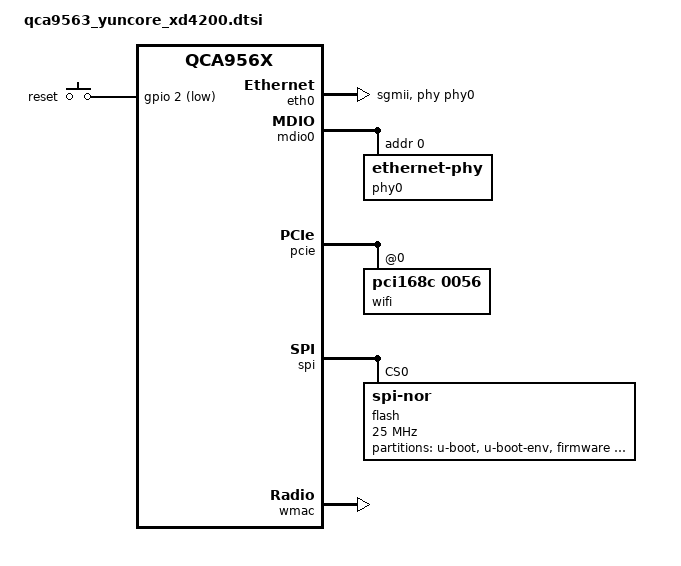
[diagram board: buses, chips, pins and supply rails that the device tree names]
// SPDX-License-Identifier: GPL-2.0-or-later OR MIT

#include "qca956x.dtsi"

#include <dt-bindings/gpio/gpio.h>
#include <dt-bindings/input/input.h>

/ {
	aliases {
		label-mac-device = &eth0;
	};

	keys {
		compatible = "gpio-keys";

		reset {
			linux,code = <KEY_RESTART>;
			gpios = <&gpio 2 GPIO_ACTIVE_LOW>;
			debounce-interval = <60>;
		};
	};
};

&eth0 {
	status = "okay";

	pll-data = <0x03000101 0x00000101 0x00001919>;

	nvmem-cells = <&macaddr_art_0>;
	nvmem-cell-names = "mac-address";
	phy-mode = "sgmii";
	phy-handle = <&phy0>;
};

&mdio0 {
	status = "okay";

	phy-mask = <0>;

	phy0: ethernet-phy@0 {
		reg = <0>;
		phy-mode = "sgmii";

		qca,ar8327-initvals = <
			0x04 0x00080080 /* PORT0 PAD MODE CTRL */
			0x10 0x81000080 /* POWER_ON_STRAP */
			0x50 0xcf37cf37 /* LED_CTRL0 */
			0x54 0xcf37cf37 /* LED_CTRL1 */
			0x58 0xcf37cf37 /* LED_CTRL2 */
			0x5c 0x0000c300 /* LED_CTRL3 */
			0x7c 0x0000007e /* PORT0_STATUS */
		>;
	};
};

&pcie {
	status = "okay";

	wifi@0,0 {
		compatible = "pci168c,0056";
		reg = <0x0000 0 0 0 0>;
	};
};

&spi {
	status = "okay";

	flash@0 {
		compatible = "jedec,spi-nor";
		reg = <0>;
		spi-max-frequency = <25000000>;

		partitions {
			compatible = "fixed-partitions";
			#address-cells = <1>;
			#size-cells = <1>;

			partition@0 {
				label = "u-boot";
				reg = <0x000000 0x040000>;
				read-only;
			};

			partition@40000 {
				label = "u-boot-env";
				reg = <0x040000 0x010000>;
			};

			partition@50000 {
				compatible = "denx,uimage";
				label = "firmware";
				reg = <0x050000 0xfa0000>;
			};

			art: partition@ff0000 {
				label = "art";
				reg = <0xff0000 0x010000>;
				read-only;
			};
		};
	};
};

&wmac {
	status = "okay";

	mtd-cal-data = <&art 0x1000>;
};

&art {
	compatible = "nvmem-cells";
	#address-cells = <1>;
	#size-cells = <1>;

	macaddr_art_0: macaddr@0 {
		reg = <0x0 0x6>;
	};
};
